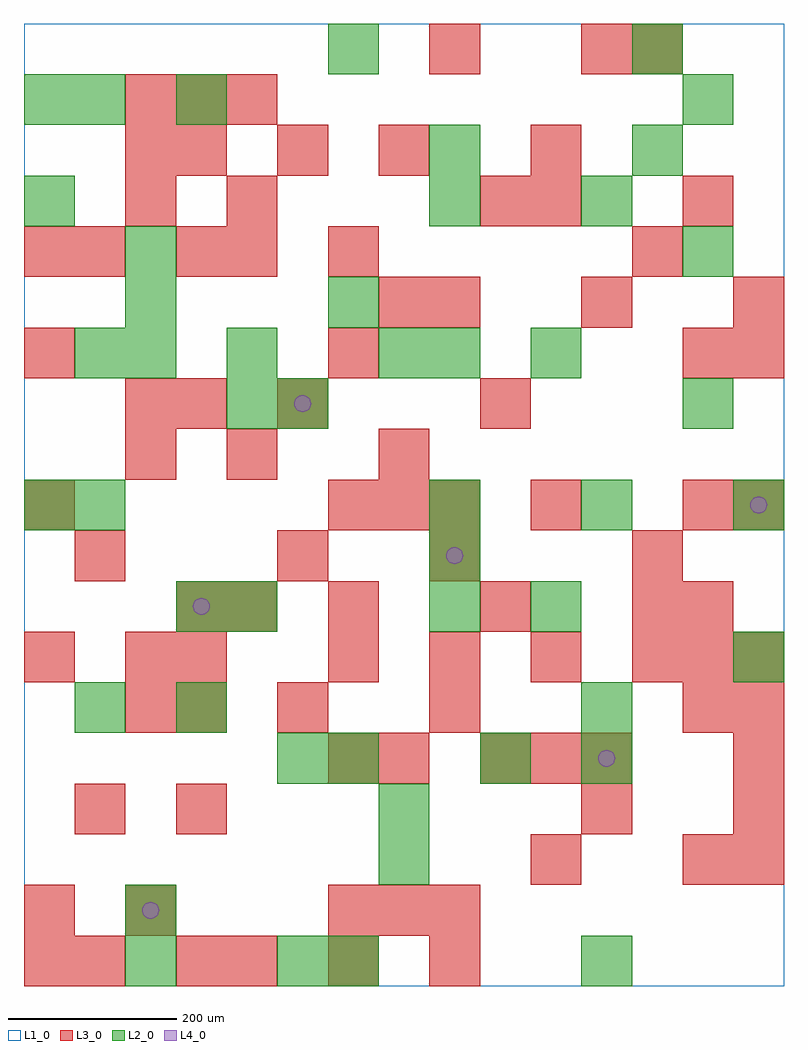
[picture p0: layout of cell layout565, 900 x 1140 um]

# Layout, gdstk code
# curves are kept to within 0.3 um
import gdstk
lib = gdstk.Library(unit=1e-6, precision=1e-09)
def R(c, l, rs):  # rectangles x0, y0, x1, y1
    for r in rs: c.add(gdstk.rectangle(r[:2], r[2:], *l))
def A(c, l, x, y, w, h, nx, ny, dx, dy):  # array of equal rectangles
    R(c, l, [(x+i*dx, y+j*dy, x+i*dx+w, y+j*dy+h) for i in range(nx) for j in range(ny)])
def P(c, l, *ps):  # polygons
    for p in ps: c.add(gdstk.Polygon(p, *l))
L1_0 = (1, 0)
L2_0 = (2, 0)
L3_0 = (3, 0)
L4_0 = (4, 0)

layout565 = lib.new_cell('layout565')
R(layout565, L1_0, [(0,0,900,1140)])
A(layout565, L2_0, 480, 540, 60, 60, 3, 1, 180, 0)
A(layout565, L2_0, 780, 660, 60, 60, 1, 3, 0, 180)
A(layout565, L2_0, 120, 720, 60, 60, 1, 3, 0, 60)
R(layout565, L2_0, [(120,0,180,60), (300,0,360,60), (360,0,420,60), (660,0,720,60), (120,60,180,120), (420,120,480,180), (420,180,480,240), (300,240,360,300), (360,240,420,300), (540,240,600,300), (660,240,720,300), (60,300,120,360), (180,300,240,360), (660,300,720,360), (840,360,900,420), (180,420,240,480), (240,420,300,480), (480,420,540,480), (600,420,660,480), (480,480,540,540), (0,540,60,600), (60,540,120,600), (240,660,300,720), (300,660,360,720), (60,720,120,780), (240,720,300,780), (420,720,480,780), (480,720,540,780), (600,720,660,780), (360,780,420,840), (0,900,60,960), (480,900,540,960), (660,900,720,960), (480,960,540,1020), (720,960,780,1020), (0,1020,60,1080), (60,1020,120,1080), (180,1020,240,1080), (360,1080,420,1140), (720,1080,780,1140)])
A(layout565, L3_0, 240, 0, 60, 60, 3, 1, 120, 0)
A(layout565, L3_0, 360, 60, 60, 60, 3, 2, 60, 480)
A(layout565, L3_0, 840, 120, 60, 60, 1, 5, 0, 60)
A(layout565, L3_0, 540, 240, 60, 60, 3, 1, 60, 0)
A(layout565, L3_0, 180, 300, 60, 60, 1, 3, 0, 60)
A(layout565, L3_0, 300, 300, 60, 60, 1, 3, 0, 180)
A(layout565, L3_0, 780, 300, 60, 60, 1, 3, 0, 60)
A(layout565, L3_0, 0, 360, 60, 60, 1, 3, 0, 180)
A(layout565, L3_0, 360, 360, 60, 60, 4, 1, 120, 0)
A(layout565, L3_0, 360, 420, 60, 60, 3, 1, 180, 0)
A(layout565, L3_0, 780, 540, 60, 60, 1, 3, 0, 180)
A(layout565, L3_0, 480, 780, 60, 60, 3, 1, 180, 0)
A(layout565, L3_0, 180, 960, 60, 60, 3, 1, 120, 0)
A(layout565, L3_0, 120, 1020, 60, 60, 3, 1, 60, 0)
R(layout565, L3_0, [(0,0,60,60), (60,0,120,60), (180,0,240,60), (0,60,60,120), (120,60,180,120), (600,120,660,180), (780,120,840,180), (60,180,120,240), (180,180,240,240), (660,180,720,240), (360,240,420,300), (420,240,480,300), (120,300,180,360), (480,300,540,360), (120,360,180,420), (240,420,300,480), (60,480,120,540), (480,480,540,540), (720,480,780,540), (600,540,660,600), (840,540,900,600), (120,600,180,660), (240,600,300,660), (420,600,480,660), (120,660,180,720), (180,660,240,720), (540,660,600,720), (360,720,420,780), (840,720,900,780), (420,780,480,840), (0,840,60,900), (60,840,120,900), (180,840,240,900), (240,840,300,900), (360,840,420,900), (720,840,780,900), (120,900,180,960), (240,900,300,960), (540,900,600,960), (600,900,660,960), (120,960,180,1020), (600,960,660,1020), (480,1080,540,1140), (660,1080,720,1140), (720,1080,780,1140)])
P(layout565, L4_0, [(160,90),(159.239,93.827),(157.071,97.071),(153.827,99.239),(150,100),(146.173,99.239),(142.929,97.071),(140.761,93.827),(140,90),(140.761,86.173),(142.929,82.929),(146.173,80.761),(150,80),(153.827,80.761),(157.071,82.929),(159.239,86.173)],
  [(220,450),(219.239,453.827),(217.071,457.071),(213.827,459.239),(210,460),(206.173,459.239),(202.929,457.071),(200.761,453.827),(200,450),(200.761,446.173),(202.929,442.929),(206.173,440.761),(210,440),(213.827,440.761),(217.071,442.929),(219.239,446.173)],
  [(340,690),(339.239,693.827),(337.071,697.071),(333.827,699.239),(330,700),(326.173,699.239),(322.929,697.071),(320.761,693.827),(320,690),(320.761,686.173),(322.929,682.929),(326.173,680.761),(330,680),(333.827,680.761),(337.071,682.929),(339.239,686.173)],
  [(520,510),(519.239,513.827),(517.071,517.071),(513.827,519.239),(510,520),(506.173,519.239),(502.929,517.071),(500.761,513.827),(500,510),(500.761,506.173),(502.929,502.929),(506.173,500.761),(510,500),(513.827,500.761),(517.071,502.929),(519.239,506.173)],
  [(700,270),(699.239,273.827),(697.071,277.071),(693.827,279.239),(690,280),(686.173,279.239),(682.929,277.071),(680.761,273.827),(680,270),(680.761,266.173),(682.929,262.929),(686.173,260.761),(690,260),(693.827,260.761),(697.071,262.929),(699.239,266.173)],
  [(880,570),(879.239,573.827),(877.071,577.071),(873.827,579.239),(870,580),(866.173,579.239),(862.929,577.071),(860.761,573.827),(860,570),(860.761,566.173),(862.929,562.929),(866.173,560.761),(870,560),(873.827,560.761),(877.071,562.929),(879.239,566.173)])

lib.write_gds('layout565.gds')
